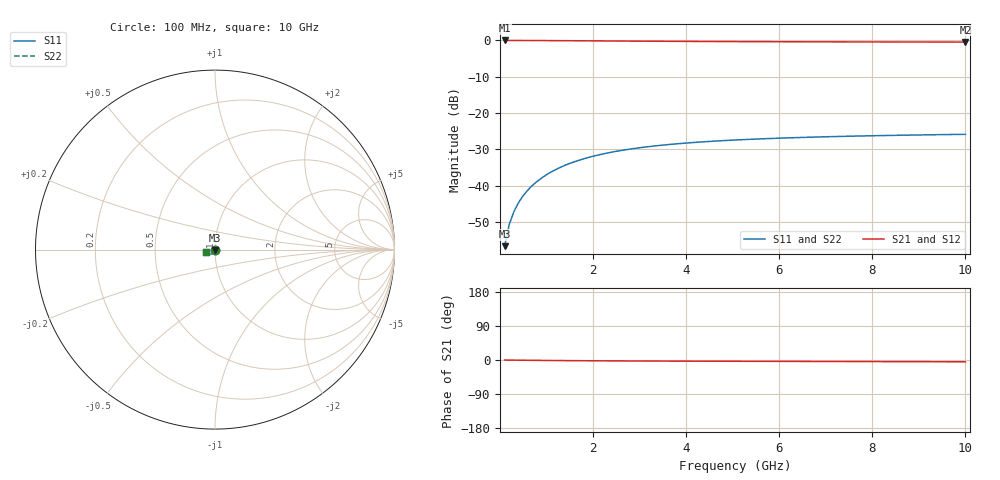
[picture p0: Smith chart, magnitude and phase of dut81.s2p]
! Touchstone file exported from HFSS 2024.1.0
!  File:  C:/UserFiles/LocalFiles/RDL_TSV_Batchsim/temp_TSV1_81_1778764587.aedt
!  Generated:  09:20:28 PM May 14, 2026
!  Design:  TSV1
!  Project:  temp_TSV1_81_1778764587
!  Setup:  Setup1
!  Solution:  Sweep
! Variables:
!  dtsv = 13.15um
!  hbump = 3um
!  htsv = 71.8um
!  lrdl = 252.1521522um
!  p = 40
!  p1 = 50.24um
!  t = 500um
!  trdl = 3um
!  wrdl = 24.89489489um
# GHz S MA R 50.000000
! Terminal data exported
! Port[1] = TSV22_T1
! Port[2] = TSV22_T2
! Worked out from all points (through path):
!   100 points, 100 MHz to 10 GHz, reference 50 ohm
!   highest |S21| = 0.00 dB at 100 MHz (marker M1); lowest = -0.4 dB at 10 GHz (marker M2)
!   lowest |S11| = -56.7 dB at 100 MHz (marker M3), VSWR 1.00, Z = 50 - j0.146 ohm
!   |S11| at or under -10 dB: start of sweep to end of sweep
!   |S22| runs from -56.7 to -25.9 dB; largest |S21 - S12| = 3.3e-15
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0.1  0.001457 -88.5  0.9999 -0.1  0.9999 -0.1  0.001457 -88.5
! Gamma 0 0 0 0
! Port Impedance 50 0 50 0
0.2  0.002912 -91.6  0.9997 -0.3  0.9997 -0.3  0.002912 -91.6
0.3  0.004366 -93.8  0.9995 -0.4  0.9995 -0.4  0.004366 -93.8
0.4  0.005812 -95.8  0.9992 -0.5  0.9992 -0.5  0.005812 -95.8
0.5  0.007246 -97.7  0.9988 -0.6  0.9988 -0.6  0.007246 -97.7
0.6  0.008663 -99.5  0.9983 -0.7  0.9983 -0.7  0.008663 -99.5
0.7  0.01006 -101.3  0.9977 -0.9  0.9977 -0.9  0.01006 -101.3
0.8  0.01143 -103.0  0.9971 -1.0  0.9971 -1.0  0.01143 -103.0
0.9  0.01277 -104.7  0.9965 -1.1  0.9965 -1.1  0.01277 -104.7
1.1  0.01536 -108.0  0.995 -1.3  0.995 -1.3  0.01536 -108.0
1.4  0.019 -112.6  0.9925 -1.6  0.9925 -1.6  0.019 -112.6
1.6  0.02125 -115.5  0.9906 -1.8  0.9906 -1.8  0.02125 -115.5
1.8  0.02335 -118.3  0.9888 -1.9  0.9888 -1.9  0.02335 -118.3
2.1  0.02623 -122.2  0.9859 -2.1  0.9859 -2.1  0.02623 -122.2
2.5  0.0296 -127.0  0.9822 -2.4  0.9822 -2.4  0.0296 -127.0
2.9  0.03249 -131.2  0.9786 -2.6  0.9786 -2.6  0.03249 -131.2
3.4  0.03553 -135.9  0.9745 -2.8  0.9745 -2.8  0.03553 -135.9
4.2  0.03934 -142.2  0.969 -3.1  0.969 -3.1  0.03934 -142.2
5.1  0.04253 -147.9  0.964 -3.4  0.964 -3.4  0.04253 -147.9
6.7  0.04641 -155.9  0.9575 -3.8  0.9575 -3.8  0.04641 -155.9
8.4  0.04906 -162.3  0.9529 -4.3  0.9529 -4.3  0.04906 -162.3
10  0.05077 -167.2  0.9499 -4.7  0.9499 -4.7  0.05077 -167.2
